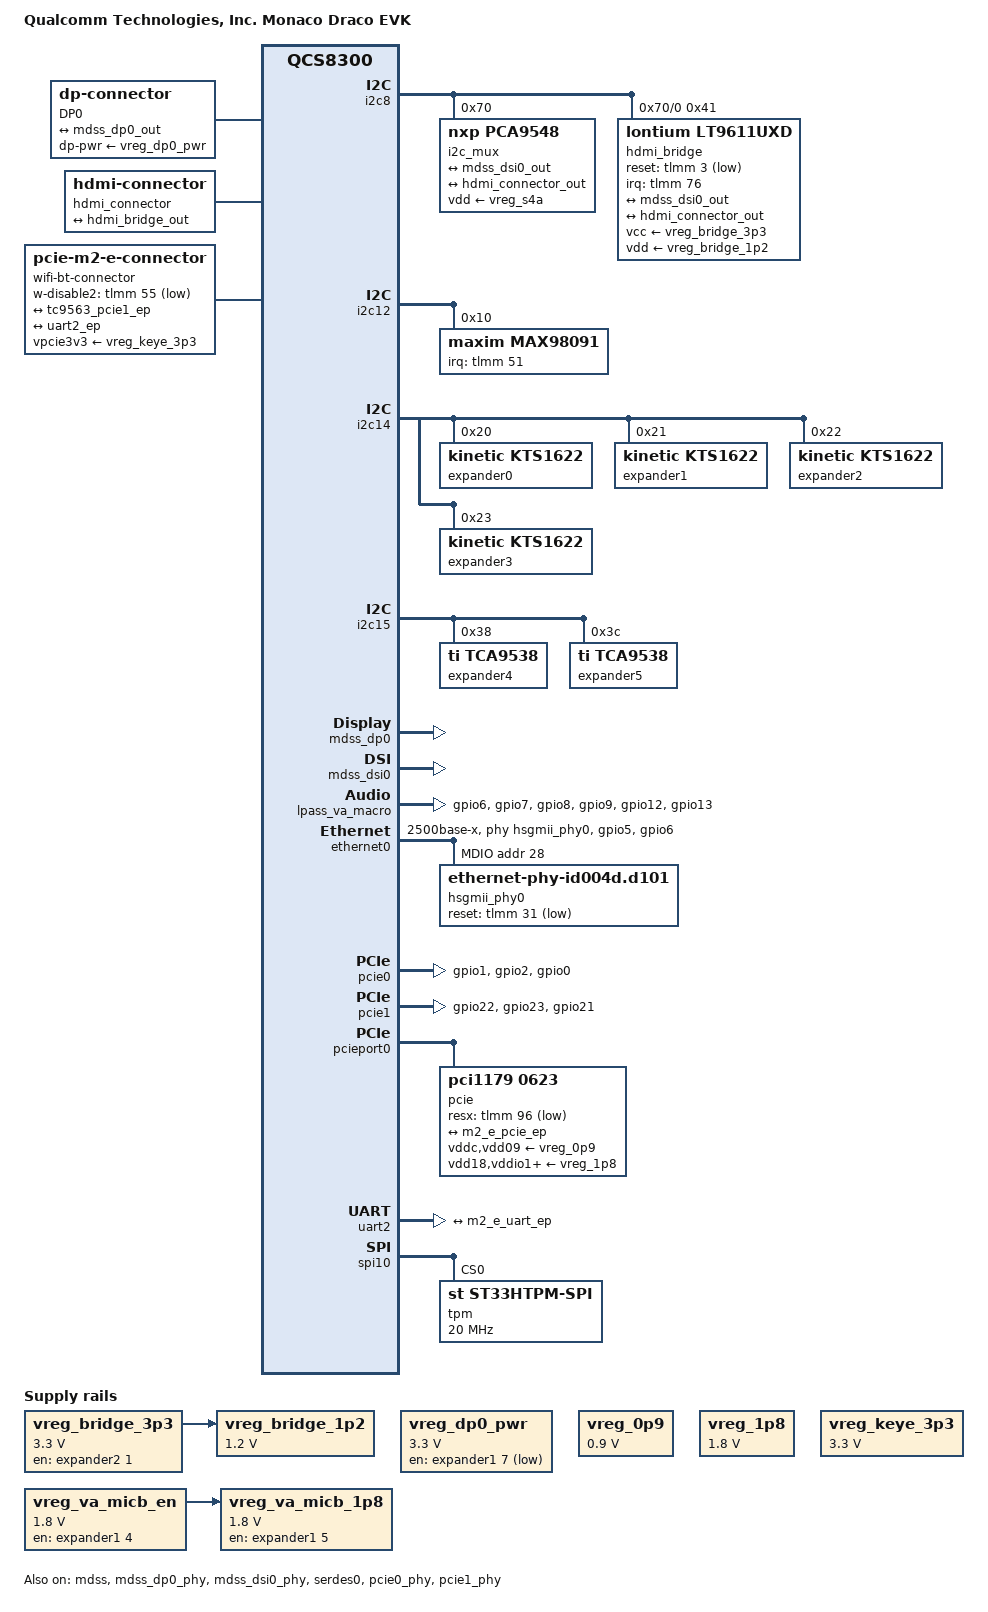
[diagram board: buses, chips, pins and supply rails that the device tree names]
// SPDX-License-Identifier: BSD-3-Clause
/*
 * Copyright (c) Qualcomm Technologies, Inc. and/or its subsidiaries.
 */

/dts-v1/;

#include <dt-bindings/gpio/gpio.h>
#include <dt-bindings/interrupt-controller/irq.h>
#include "monaco-draco-ac-evk-som.dtsi"

/ {
	model = "Qualcomm Technologies, Inc. Monaco Draco EVK";
	compatible = "qcom,monaco-draco-evk", "qcom,qcs8300";
	chassis-type = "embedded";

	aliases {
		ethernet0 = &ethernet0;
		i2c8 = &i2c8;
		i2c13 = &i2c13;
		i2c14 = &i2c14;
		i2c15 = &i2c15;
		serial1 = &uart2;
	};

	dp0-connector {
		compatible = "dp-connector";
		label = "DP0";
		type = "full-size";

		dp-pwr-supply = <&vreg_dp0_pwr>;

		port {
			dp0_connector_in: endpoint {
				remote-endpoint = <&mdss_dp0_out>;
			};
		};
	};

	hdmi_connector: hdmi-connector {
		compatible = "hdmi-connector";
		type = "a";

		port {
			hdmi_connector_out: endpoint {
				remote-endpoint = <&hdmi_bridge_out>;
			};
		};
	};

	vreg_bridge_1p2: regulator-bridge-1p2 {
		compatible = "regulator-fixed";
		regulator-name = "vreg_bridge_1p2";
		regulator-min-microvolt = <1200000>;
		regulator-max-microvolt = <1200000>;
		vin-supply = <&vreg_bridge_3p3>;
	};

	vreg_bridge_3p3: regulator-bridge-3p3 {
		compatible = "regulator-fixed";
		regulator-name = "vreg_bridge_3p3";
		regulator-min-microvolt = <3300000>;
		regulator-max-microvolt = <3300000>;
		gpio = <&expander2 1 GPIO_ACTIVE_HIGH>;
		enable-active-high;
	};

	vreg_dp0_pwr: regulator-dp0-pwr {
		compatible = "regulator-fixed";
		regulator-name = "VREG_DP0_PWR_3P3";
		regulator-min-microvolt = <3300000>;
		regulator-max-microvolt = <3300000>;
		gpio = <&expander1 7 GPIO_ACTIVE_HIGH>;
	};

	vreg_0p9: regulator-0v9 {
		compatible = "regulator-fixed";
		regulator-name = "VREG_0P9";
		regulator-min-microvolt = <900000>;
		regulator-max-microvolt = <900000>;
		regulator-always-on;
		regulator-boot-on;
	};

	vreg_1p8: regulator-1v8 {
		compatible = "regulator-fixed";
		regulator-name = "VREG_1P8";
		regulator-min-microvolt = <1800000>;
		regulator-max-microvolt = <1800000>;
		regulator-always-on;
		regulator-boot-on;
	};

	vreg_keye_3p3: regulator-keye-3p3 {
		compatible = "regulator-fixed";
		regulator-name = "vreg_keye_3p3";
		regulator-min-microvolt = <3300000>;
		regulator-max-microvolt = <3300000>;
		regulator-always-on;
	};

	vreg_va_micb_en: regulator-va-micb-en {
		compatible = "regulator-fixed";
		regulator-name = "vreg_va_micb_en";
		regulator-min-microvolt = <1800000>;
		regulator-max-microvolt = <1800000>;
		gpio = <&expander1 4 GPIO_ACTIVE_HIGH>;
		enable-active-high;
	};

	vreg_va_micb_1p8: regulator-va-micb-1p8 {
		compatible = "regulator-fixed";
		regulator-name = "vreg_va_micb_1p8";
		regulator-min-microvolt = <1800000>;
		regulator-max-microvolt = <1800000>;
		gpio = <&expander1 5 GPIO_ACTIVE_HIGH>;
		enable-active-high;
		vin-supply = <&vreg_va_micb_en>;
	};

	sound {
		compatible = "qcom,qcs8300-draco-sndcard";
		model = "monaco-draco-snd-card";
		pinctrl-names = "default";
		pinctrl-0 = <&mi2s_mclk_a>, <&mi2s2_data0>, <&mi2s2_data1>, <&mi2s2_sck>, <&mi2s2_ws>;
		mi2s2-playback-dai-link {
			link-name = "Tertiary MI2S Playback";
			cpu {
				sound-dai = <&q6apmbedai TERTIARY_MI2S_RX>;
			};
			codec {
				sound-dai = <&max98091>;
			};
			platform {
				sound-dai = <&q6apm>;
			};
		};
		mi2s2-capture-dai-link {
			link-name = "Tertiary MI2S Capture";
			cpu {
				sound-dai = <&q6apmbedai TERTIARY_MI2S_TX>;
			};
			codec {
				sound-dai = <&max98091>;
			};
			platform {
				sound-dai = <&q6apm>;
			};
		};
		va-dai-link {
			link-name = "CODEC_DMA-LPAIF_VA-TX-0";

			cpu {
				sound-dai = <&q6apmbedai VA_CODEC_DMA_TX_0>;
			};

			codec {
				sound-dai = <&lpass_va_macro 0>;
			};

			platform {
				sound-dai = <&q6apm>;
			};
		};

	};

	wifi-bt-connector {
		compatible = "pcie-m2-e-connector";
		vpcie3v3-supply = <&vreg_keye_3p3>;

		w-disable2-gpios = <&tlmm 55 GPIO_ACTIVE_LOW>;

		pinctrl-0 = <&bt_en>;
		pinctrl-names = "default";

		ports {
			#address-cells = <1>;
			#size-cells = <0>;

			port@0 {
				reg = <0>;
				#address-cells = <1>;
				#size-cells = <0>;

				m2_e_pcie_ep: endpoint@0 {
					reg = <0>;
					remote-endpoint = <&tc9563_pcie1_ep>;
				};
			};

			port@3 {
				reg = <3>;
				#address-cells = <1>;
				#size-cells = <0>;
				m2_e_uart_ep: endpoint@0 {
					reg = <0>;
					remote-endpoint = <&uart2_ep>;
				};
			};
		};
	};

};

&i2c8 {
	status = "okay";

	i2c_mux: i2c-mux@70 {
		compatible = "nxp,pca9548";
		reg = <0x70>;
		#address-cells = <1>;
		#size-cells = <0>;
		vdd-supply = <&vreg_s4a>;

		i2c@0 {
			reg = <0>;
			#address-cells = <1>;
			#size-cells = <0>;

			hdmi_bridge: hdmi-bridge@41 {
				compatible = "lontium,lt9611uxd";
				reg = <0x41>;

				interrupts-extended = <&tlmm 76 IRQ_TYPE_EDGE_FALLING>;
				reset-gpios = <&tlmm 3 GPIO_ACTIVE_LOW>;

				vcc-supply = <&vreg_bridge_3p3>;
				vdd-supply = <&vreg_bridge_1p2>;

				pinctrl-0 = <&bridge_rst_pin &bridge_irq_pin>;
				pinctrl-names = "default";

				ports {
					#address-cells = <1>;
					#size-cells = <0>;

					port@0 {
						reg = <0>;
						hdmi_bridge_in: endpoint {
							remote-endpoint = <&mdss_dsi0_out>;
						};
					};

					port@2 {
						reg = <2>;
						hdmi_bridge_out: endpoint {
							remote-endpoint = <&hdmi_connector_out>;
						};
					};
				};
			};
		};
	};
};

&i2c12 {
	status = "okay";

	max98091: max98091@10 {
		compatible = "maxim,max98091";
		reg = <0x10>;
		#sound-dai-cells = <0>;
		clock-names = "mclk";
		clocks = <&q6prmcc LPASS_CLK_ID_MCLK_1 LPASS_CLK_ATTRIBUTE_COUPLE_NO>;
		assigned-clocks = <&q6prmcc LPASS_CLK_ID_MCLK_1 LPASS_CLK_ATTRIBUTE_COUPLE_NO>;
		assigned-clock-rates = <12288000>;
		interrupt-parent = <&tlmm>;
		interrupts = <51 IRQ_TYPE_NONE>;
		pinctrl-names = "default";
		pinctrl-0 = <&int_codec>;
	};
};

&i2c14 {
	status = "okay";

	expander0: gpio@20 {
		compatible = "kinetic,kts1622", "ti,tcal6416";
		reg = <0x20>;
		#gpio-cells = <2>;
		gpio-controller;
	};

	expander1: gpio@21 {
		compatible = "kinetic,kts1622", "ti,tcal6416";
		reg = <0x21>;
		#gpio-cells = <2>;
		gpio-controller;
	};

	expander2: gpio@22 {
		compatible = "kinetic,kts1622", "ti,tcal6416";
		reg = <0x22>;
		#gpio-cells = <2>;
		gpio-controller;
	};

	expander3: gpio@23 {
		compatible = "kinetic,kts1622", "ti,tcal6416";
		reg = <0x23>;
		#gpio-cells = <2>;
		gpio-controller;
	};
};

&i2c15 {
	status = "okay";

	expander4: gpio@38 {
		compatible = "ti,tca9538";
		reg = <0x38>;
		#gpio-cells = <2>;
		gpio-controller;
	};

	expander5: gpio@3c {
		compatible = "ti,tca9538";
		reg = <0x3c>;
		#gpio-cells = <2>;
		gpio-controller;
	};
};

&mdss {
	status = "okay";
};

&mdss_dp0 {
	pinctrl-0 = <&dp_hot_plug_det>;
	pinctrl-names = "default";

	status = "okay";
};

&mdss_dp0_out {
	data-lanes = <0 1 2 3>;
	link-frequencies = /bits/ 64 <1620000000 2700000000 5400000000 8100000000>;
	remote-endpoint = <&dp0_connector_in>;
};

&mdss_dp0_phy {
	vdda-phy-supply = <&vreg_l5a>;
	vdda-pll-supply = <&vreg_l4a>;

	status = "okay";
};

&mdss_dsi0 {
	vdda-supply = <&vreg_l5a>;

	status = "okay";
};

&mdss_dsi0_out {
	data-lanes = <0 1 2 3>;
	remote-endpoint = <&hdmi_bridge_in>;
};

&mdss_dsi0_phy {
	vdds-supply = <&vreg_l4a>;

	status = "okay";
};

&soc {
	lpass_tlmm: pinctrl@3440000 {
		compatible = "qcom,sm8450-lpass-lpi-pinctrl";
		reg = <0x0 0x03440000 0x0 0x20000>,
			<0x0 0x034d0000 0x0 0x10000>;
		clocks = <&q6prmcc LPASS_HW_MACRO_VOTE LPASS_CLK_ATTRIBUTE_COUPLE_NO>,
			<&q6prmcc LPASS_HW_DCODEC_VOTE LPASS_CLK_ATTRIBUTE_COUPLE_NO>;
		clock-names = "core", "audio";
		gpio-controller;
		#gpio-cells = <2>;
		gpio-ranges = <&lpass_tlmm 0 0 23>;

		lpass_dmic01_clk: dmic01-clk-state {
			pins = "gpio6";
			function = "dmic1_clk";
			drive-strength = <8>;
			bias-disable;
		};

		lpass_dmic01_data: dmic01-data-state {
			pins = "gpio7";
			function = "dmic1_data";
			drive-strength = <8>;
			bias-pull-down;
		};

		lpass_dmic23_clk: dmic23-clk-state {
			pins = "gpio8";
			function = "dmic2_clk";
			drive-strength = <8>;
			bias-disable;
		};

		lpass_dmic23_data: dmic23-data-state {
			pins = "gpio9";
			function = "dmic2_data";
			drive-strength = <8>;
			bias-pull-down;
		};

		lpass_dmic45_clk: dmic45-clk-state {
			pins = "gpio12";
			function = "dmic3_clk";
			drive-strength = <8>;
			bias-disable;
		};

		lpass_dmic45_data: dmic45-data-state {
			pins = "gpio13";
			function = "dmic3_data";
			drive-strength = <8>;
			bias-pull-down;
		};
	};

	lpass_va_macro: codec@33F0000 {
		compatible = "qcom,sc7280-lpass-va-macro";
		reg = <0 0x33F0000 0 0x1000>;
		pinctrl-names = "default";
		pinctrl-0 = <&lpass_dmic01_clk>, <&lpass_dmic01_data>,
			<&lpass_dmic23_clk>, <&lpass_dmic23_data>,
			<&lpass_dmic45_clk>, <&lpass_dmic45_data>;
		clocks = <&q6prmcc LPASS_CLK_ID_TX_CORE_MCLK LPASS_CLK_ATTRIBUTE_COUPLE_NO>,
			<&q6prmcc LPASS_HW_MACRO_VOTE LPASS_CLK_ATTRIBUTE_COUPLE_NO>,
			<&q6prmcc LPASS_HW_DCODEC_VOTE LPASS_CLK_ATTRIBUTE_COUPLE_NO>;
		clock-names = "mclk", "macro", "dcodec";

		#clock-cells = <0>;
		#sound-dai-cells = <1>;
		status = "okay";
		qcom,dmic-sample-rate = <4800000>;
		vdd-micb-supply = <&vreg_va_micb_1p8>;
	};
};

&tlmm {
	bt_en: bt-en-state {
		pins = "gpio55";
		function = "gpio";
		drive-strength = <2>;
		bias-disable;
	};

	ethernet0_default: ethernet0-default-state {
		ethernet0_mdc: ethernet0-mdc-pins {
			pins = "gpio5";
			function = "emac0_mdc";
			drive-strength = <16>;
			bias-pull-up;
		};

		ethernet0_mdio: ethernet0-mdio-pins {
			pins = "gpio6";
			function = "emac0_mdio";
			drive-strength = <16>;
			bias-pull-up;
		};
	};

	bridge_rst_pin: bridge-rst-state {
		pins = "gpio3";
		function = "gpio";
		drive-strength = <8>;
		bias-disable;
		output-high;
	};

	bridge_irq_pin: bridge-irq-state {
		pins = "gpio76";
		function = "gpio";
		drive-strength = <2>;
		bias-disable;
	};

	int_codec: gpio-irq-state {
		pins = "gpio51";
		function = "gpio";
	};

	mi2s_mclk_a: mi2s-mclk-a-state {
		pins = "gpio97";
		function = "mi2s_mclk0";
		drive-strength = <16>;
		bias-disable;
		output-high;
	};

	mi2s2_data0: mi2s2-data0-state {
		pins = "gpio104";
		function = "mi2s2_data0";
		drive-strength = <8>;
		bias-disable;
	};

	mi2s2_data1: mi2s2-data1-state {
		pins = "gpio105";
		function = "mi2s2_data1";
		drive-strength = <8>;
		bias-disable;
	};

	mi2s2_sck: mi2s2-sck-state {
		pins = "gpio102";
		function = "mi2s2_sck";
		drive-strength = <8>;
		bias-disable;
		output-high;
	};

	mi2s2_ws: mi2s2-ws-state {
		pins = "gpio103";
		function = "mi2s2_ws";
		drive-strength = <8>;
		bias-disable;
		output-high;
	};

	pcie0_default_state: pcie0-default-state {
		clkreq-pins {
			pins = "gpio1";
			function = "pcie0_clkreq";
			drive-strength = <2>;
			bias-pull-up;
		};

		perst-pins {
			pins = "gpio2";
			function = "gpio";
			drive-strength = <2>;
			bias-pull-up;
		};

		wake-pins {
			pins = "gpio0";
			function = "gpio";
			drive-strength = <2>;
			bias-pull-up;
		};
	};

	pcie1_default_state: pcie1-default-state {
		clkreq-pins {
			pins = "gpio22";
			function = "pcie1_clkreq";
			drive-strength = <2>;
			bias-pull-up;
		};

		perst-pins {
			pins = "gpio23";
			function = "gpio";
			drive-strength = <2>;
			bias-pull-up;
		};

		wake-pins {
			pins = "gpio21";
			function = "gpio";
			drive-strength = <2>;
			bias-pull-up;
		};
	};

	tc9563_resx_n: tc9563-resx-state {
		pins = "gpio96";
		function = "gpio";
		bias-disable;
		output-high;
	};
};

&ethernet0 {
	phy-handle = <&hsgmii_phy0>;
	phy-mode = "2500base-x";
	pinctrl-0 = <&ethernet0_default>;
	pinctrl-names = "default";
	snps,mtl-rx-config = <&mtl_rx_setup>;
	snps,mtl-tx-config = <&mtl_tx_setup>;
	status = "okay";

	mdio {
		compatible = "snps,dwmac-mdio";
		#address-cells = <1>;
		#size-cells = <0>;

		hsgmii_phy0: ethernet-phy@1c {
			compatible = "ethernet-phy-id004d.d101";
			reg = <0x1c>;
			reset-gpios = <&tlmm 31 GPIO_ACTIVE_LOW>;
			reset-assert-us = <11000>;
			reset-deassert-us = <70000>;
		};
	};

	mtl_rx_setup: rx-queues-config {
		snps,rx-queues-to-use = <4>;
		snps,rx-sched-sp;

		queue0 {
			snps,dcb-algorithm;
			snps,map-to-dma-channel = <0>;
			snps,route-up;
			snps,priority = <1>;
		};

		queue1 {
			snps,dcb-algorithm;
			snps,map-to-dma-channel = <1>;
			snps,route-ptp;
		};

		queue2 {
			snps,avb-algorithm;
			snps,map-to-dma-channel = <2>;
			snps,route-avcp;
		};

		queue3 {
			snps,avb-algorithm;
			snps,map-to-dma-channel = <3>;
			snps,priority = <12>;
		};
	};

	mtl_tx_setup: tx-queues-config {
		snps,tx-queues-to-use = <4>;

		queue0 {
			snps,dcb-algorithm;
		};

		queue1 {
			snps,dcb-algorithm;
		};

		queue2 {
			snps,avb-algorithm;
			snps,send_slope = <0x1000>;
			snps,idle_slope = <0x1000>;
			snps,high_credit = <0x3e800>;
			snps,low_credit = <0xffc18000>;
		};

		queue3 {
			snps,avb-algorithm;
			snps,send_slope = <0x1000>;
			snps,idle_slope = <0x1000>;
			snps,high_credit = <0x3e800>;
			snps,low_credit = <0xffc18000>;
		};
	};
};

&serdes0 {
	vdda-0p9-supply = <&vreg_l4a>;
	vdda-1p2-supply = <&vreg_l5a>;
	status = "okay";
};

&pcie0 {
	perst-gpios = <&tlmm 2 GPIO_ACTIVE_LOW>;
	wake-gpios = <&tlmm 0 GPIO_ACTIVE_HIGH>;
	pinctrl-0 = <&pcie0_default_state>;
	pinctrl-names = "default";

	iommu-map = <0x0 &pcie_smmu 0x0 0x0 0x1>,
		    <0x100 &pcie_smmu 0x1 0x0 0x1>,
		    <0x208 &pcie_smmu 0x2 0x0 0x1>,
		    <0x210 &pcie_smmu 0x3 0x0 0x1>,
		    <0x218 &pcie_smmu 0x4 0x0 0x1>,
		    <0x300 &pcie_smmu 0x5 0x0 0x1>,
		    <0x400 &pcie_smmu 0x6 0x0 0x1>,
		    <0x500 &pcie_smmu 0x7 0x0 0x1>,
		    <0x501 &pcie_smmu 0x8 0x0 0x1>;

	status = "okay";
};

&pcie0_phy {
	vdda-phy-supply = <&vreg_l6a>;
	vdda-pll-supply = <&vreg_l5a>;
	vdda-qref-supply = <&vreg_l4a>;
	vdda-refgen-supply = <&vreg_l7a>;

	status = "okay";
};

&pcie1 {
	perst-gpios = <&tlmm 23 GPIO_ACTIVE_LOW>;
	wake-gpios = <&tlmm 21 GPIO_ACTIVE_HIGH>;
	pinctrl-0 = <&pcie1_default_state>;
	pinctrl-names = "default";

	status = "okay";
};

&pcie1_phy {
	vdda-phy-supply = <&vreg_l6a>;
	vdda-pll-supply = <&vreg_l5a>;
	vdda-qref-supply = <&vreg_l4a>;
	vdda-refgen-supply = <&vreg_l7a>;

	status = "okay";
};

&pcieport0 {
	#address-cells = <3>;
	#size-cells = <2>;

	pcie@0,0 {
		compatible = "pci1179,0623";
		reg = <0x10000 0x0 0x0 0x0 0x0>;
		#address-cells = <3>;
		#size-cells = <2>;
		device_type = "pci";
		ranges;
		bus-range = <0x2 0xff>;

		vddc-supply = <&vreg_0p9>;
		vdd18-supply = <&vreg_1p8>;
		vdd09-supply = <&vreg_0p9>;
		vddio1-supply = <&vreg_1p8>;
		vddio2-supply = <&vreg_1p8>;
		vddio18-supply = <&vreg_1p8>;
		i2c-parent = <&i2c15 0x77>;
		resx-gpios = <&tlmm 96 GPIO_ACTIVE_LOW>;
		pinctrl-0 = <&tc9563_resx_n>;
		pinctrl-names = "default";

		pcie@1,0 {
			reg = <0x20800 0x0 0x0 0x0 0x0>;
			#address-cells = <3>;
			#size-cells = <2>;
			device_type = "pci";
			ranges;
			bus-range = <0x3 0xff>;
			port {
				tc9563_pcie1_ep: endpoint {};
			};
		};

		pcie@2,0 {
			reg = <0x21000 0x0 0x0 0x0 0x0>;
			#address-cells = <3>;
			#size-cells = <2>;
			device_type = "pci";
			ranges;
			bus-range = <0x4 0xff>;
		};

		pcie@3,0 {
			reg = <0x21800 0x0 0x0 0x0 0x0>;
			#address-cells = <3>;
			#size-cells = <2>;
			device_type = "pci";
			ranges;
			bus-range = <0x5 0xff>;

			pcie@0,0 {
				reg = <0x50000 0x0 0x0 0x0 0x0>;
				#address-cells = <3>;
				#size-cells = <2>;
				device_type = "pci";
				ranges;
			};

			pcie@0,1 {
				reg = <0x50100 0x0 0x0 0x0 0x0>;
				#address-cells = <3>;
				#size-cells = <2>;
				device_type = "pci";
				ranges;
			};
		};
	};
};

&tc9563_pcie1_ep {
	remote-endpoint = <&m2_e_pcie_ep>;
};

&uart2 {
	status = "okay";

	port {
		uart2_ep: endpoint {
			remote-endpoint = <&m2_e_uart_ep>;
		};
	};
};

&spi10 {
	status = "okay";

	tpm@0 {
		compatible = "st,st33htpm-spi", "tcg,tpm_tis-spi";
		reg = <0>;
		spi-max-frequency = <20000000>;
	};
};
